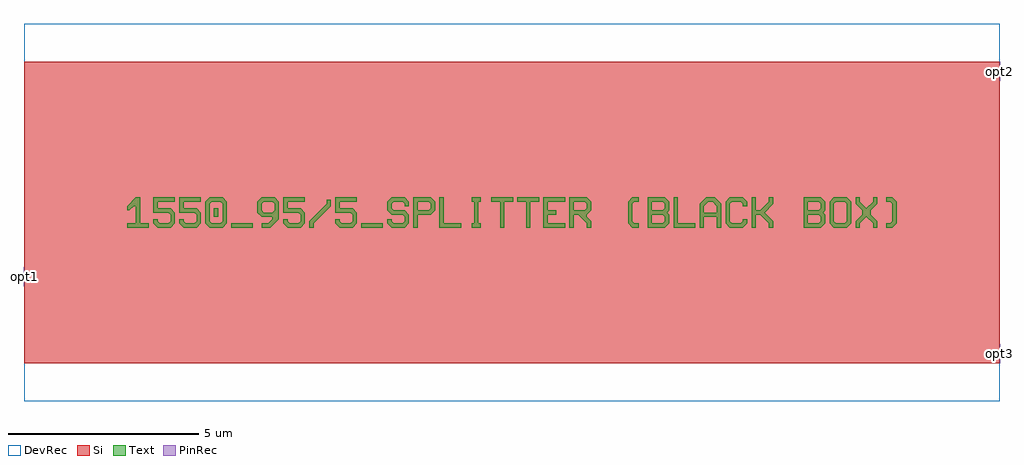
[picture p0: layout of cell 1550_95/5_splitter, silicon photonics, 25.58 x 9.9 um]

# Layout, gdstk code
import gdstk
lib = gdstk.Library(unit=1e-6, precision=1e-09)
def R(c, l, rs):  # rectangles x0, y0, x1, y1
    for r in rs: c.add(gdstk.rectangle(r[:2], r[2:], *l))
def P(c, l, *ps):  # polygons
    for p in ps: c.add(gdstk.Polygon(p, *l))
Si = (1, 0)
PinRec = (1, 10)
Text = (10, 0)
DevRec = (68, 0)

text = lib.new_cell('TEXT')
R(text, Text, [(2.728,0,3.296,0.114), (6.138,0,6.706,0.114), (2.273,0.284,2.387,0.512)])
P(text, Text, [(0,0),(0,0.114),(0.227,0.114),(0.227,0.568),(0.171,0.568),(0.057,0.455),(0,0.455),(0,0.568),(0.227,0.796),(0.341,0.796),(0.341,0.114),(0.568,0.114),(0.568,0)],
  [(0.796,0),(0.682,0.114),(0.682,0.227),(0.796,0.227),(0.796,0.171),(0.853,0.114),(1.08,0.114),(1.137,0.171),(1.137,0.341),(1.08,0.398),(0.682,0.398),(0.682,0.796),(1.25,0.796),(1.25,0.682),(0.796,0.682),(0.796,0.512),(1.137,0.512),(1.25,0.398),(1.25,0.114),(1.137,0)],
  [(1.478,0),(1.364,0.114),(1.364,0.227),(1.478,0.227),(1.478,0.171),(1.535,0.114),(1.762,0.114),(1.819,0.171),(1.819,0.341),(1.762,0.398),(1.364,0.398),(1.364,0.796),(1.932,0.796),(1.932,0.682),(1.478,0.682),(1.478,0.512),(1.819,0.512),(1.932,0.398),(1.932,0.114),(1.819,0)],
  [(2.16,0),(2.046,0.114),(2.046,0.682),(2.16,0.796),(2.501,0.796),(2.614,0.682),(2.217,0.682),(2.16,0.625),(2.16,0.171),(2.217,0.114),(2.444,0.114),(2.501,0.171),(2.501,0.625),(2.444,0.682),(2.614,0.682),(2.614,0.114),(2.501,0)],
  [(3.524,0),(3.524,0.114),(3.694,0.114),(3.808,0.227),(3.808,0.284),(3.524,0.284),(3.41,0.398),(3.808,0.398),(3.865,0.455),(3.865,0.625),(3.808,0.682),(3.581,0.682),(3.524,0.625),(3.524,0.455),(3.581,0.398),(3.41,0.398),(3.41,0.682),(3.524,0.796),(3.865,0.796),(3.978,0.682),(3.978,0.227),(3.751,0)],
  [(4.206,0),(4.092,0.114),(4.092,0.227),(4.206,0.227),(4.206,0.171),(4.263,0.114),(4.49,0.114),(4.547,0.171),(4.547,0.341),(4.49,0.398),(4.092,0.398),(4.092,0.796),(4.66,0.796),(4.66,0.682),(4.206,0.682),(4.206,0.512),(4.547,0.512),(4.66,0.398),(4.66,0.114),(4.547,0)],
  [(4.774,0),(4.774,0.171),(5.229,0.625),(5.229,0.739),(5.342,0.739),(5.342,0.568),(4.888,0.114),(4.888,0)],
  [(5.57,0),(5.456,0.114),(5.456,0.227),(5.57,0.227),(5.57,0.171),(5.627,0.114),(5.854,0.114),(5.911,0.171),(5.911,0.341),(5.854,0.398),(5.456,0.398),(5.456,0.796),(6.024,0.796),(6.024,0.682),(5.57,0.682),(5.57,0.512),(5.911,0.512),(6.024,0.398),(6.024,0.114),(5.911,0)],
  [(6.934,0),(6.82,0.114),(6.82,0.227),(6.934,0.227),(6.934,0.171),(6.991,0.114),(7.218,0.114),(7.275,0.171),(7.275,0.284),(7.218,0.341),(6.934,0.341),(6.82,0.455),(6.82,0.682),(6.934,0.796),(7.275,0.796),(7.388,0.682),(7.388,0.568),(7.275,0.568),(7.275,0.625),(7.218,0.682),(6.991,0.682),(6.934,0.625),(6.934,0.512),(6.991,0.455),(7.275,0.455),(7.388,0.341),(7.388,0.114),(7.275,0)],
  [(7.502,0),(7.502,0.796),(7.957,0.796),(8.07,0.682),(8.07,0.455),(7.957,0.341),(7.616,0.341),(7.616,0.455),(7.9,0.455),(7.957,0.512),(7.957,0.625),(7.9,0.682),(7.616,0.682),(7.616,0)],
  [(8.184,0),(8.184,0.796),(8.298,0.796),(8.298,0.114),(8.752,0.114),(8.752,0)],
  [(9.037,0),(9.037,0.114),(9.093,0.114),(9.093,0.682),(9.037,0.682),(9.037,0.796),(9.264,0.796),(9.264,0.682),(9.207,0.682),(9.207,0.114),(9.264,0.114),(9.264,0)],
  [(9.775,0),(9.775,0.682),(9.548,0.682),(9.548,0.796),(10.116,0.796),(10.116,0.682),(9.889,0.682),(9.889,0)],
  [(10.457,0),(10.457,0.682),(10.23,0.682),(10.23,0.796),(10.798,0.796),(10.798,0.682),(10.571,0.682),(10.571,0)],
  [(10.912,0),(10.912,0.796),(11.48,0.796),(11.48,0.682),(11.026,0.682),(11.026,0.455),(11.253,0.455),(11.253,0.341),(11.026,0.341),(11.026,0.114),(11.48,0.114),(11.48,0)],
  [(11.594,0),(11.594,0.796),(12.049,0.796),(12.162,0.682),(11.708,0.682),(11.708,0.455),(11.992,0.455),(12.049,0.512),(12.049,0.625),(11.992,0.682),(12.162,0.682),(12.162,0.455),(12.049,0.341),(12.049,0.284),(12.162,0.171),(12.162,0),(12.049,0),(12.049,0.114),(11.821,0.341),(11.708,0.341),(11.708,0)],
  [(13.242,0),(13.129,0.114),(13.129,0.682),(13.242,0.796),(13.413,0.796),(13.413,0.682),(13.299,0.682),(13.242,0.625),(13.242,0.171),(13.299,0.114),(13.413,0.114),(13.413,0)],
  [(13.64,0),(13.64,0.796),(14.095,0.796),(14.208,0.682),(13.754,0.682),(13.754,0.455),(14.038,0.455),(14.095,0.512),(14.095,0.625),(14.038,0.682),(14.208,0.682),(14.208,0.455),(14.152,0.398),(14.208,0.341),(13.754,0.341),(13.754,0.114),(14.038,0.114),(14.095,0.171),(14.095,0.284),(14.038,0.341),(14.208,0.341),(14.208,0.114),(14.095,0)],
  [(14.322,0),(14.322,0.796),(14.436,0.796),(14.436,0.114),(14.89,0.114),(14.89,0)],
  [(15.004,0),(15.004,0.625),(15.175,0.796),(15.402,0.796),(15.516,0.682),(15.231,0.682),(15.118,0.568),(15.118,0.398),(15.459,0.398),(15.459,0.568),(15.345,0.682),(15.516,0.682),(15.572,0.625),(15.572,0),(15.459,0),(15.459,0.284),(15.118,0.284),(15.118,0)],
  [(15.8,0),(15.686,0.114),(15.686,0.682),(15.8,0.796),(16.141,0.796),(16.254,0.682),(16.254,0.568),(16.141,0.568),(16.141,0.625),(16.084,0.682),(15.857,0.682),(15.8,0.625),(15.8,0.171),(15.857,0.114),(16.084,0.114),(16.141,0.171),(16.141,0.227),(16.254,0.227),(16.254,0.114),(16.141,0)],
  [(16.368,0),(16.368,0.796),(16.482,0.796),(16.482,0.455),(16.595,0.455),(16.823,0.682),(16.823,0.796),(16.936,0.796),(16.936,0.625),(16.709,0.398),(16.936,0.171),(16.936,0),(16.823,0),(16.823,0.114),(16.595,0.341),(16.482,0.341),(16.482,0)],
  [(17.732,0),(17.732,0.796),(18.187,0.796),(18.3,0.682),(17.846,0.682),(17.846,0.455),(18.13,0.455),(18.187,0.512),(18.187,0.625),(18.13,0.682),(18.3,0.682),(18.3,0.455),(18.244,0.398),(18.3,0.341),(17.846,0.341),(17.846,0.114),(18.13,0.114),(18.187,0.171),(18.187,0.284),(18.13,0.341),(18.3,0.341),(18.3,0.114),(18.187,0)],
  [(18.528,0),(18.414,0.114),(18.414,0.682),(18.528,0.796),(18.869,0.796),(18.982,0.682),(18.982,0.398),(18.869,0.398),(18.869,0.625),(18.812,0.682),(18.585,0.682),(18.528,0.625),(18.528,0.171),(18.585,0.114),(18.812,0.114),(18.869,0.171),(18.869,0.398),(18.982,0.398),(18.982,0.114),(18.869,0)],
  [(19.096,0),(19.096,0.171),(19.267,0.341),(19.267,0.455),(19.096,0.625),(19.096,0.796),(19.21,0.796),(19.21,0.682),(19.38,0.512),(19.551,0.682),(19.551,0.796),(19.664,0.796),(19.664,0.625),(19.494,0.455),(19.494,0.341),(19.664,0.171),(19.664,0),(19.551,0),(19.551,0.114),(19.38,0.284),(19.21,0.114),(19.21,0)],
  [(19.892,0),(19.892,0.114),(20.005,0.114),(20.062,0.171),(20.062,0.625),(20.005,0.682),(19.892,0.682),(19.892,0.796),(20.062,0.796),(20.176,0.682),(20.176,0.114),(20.062,0)])

c_1550_95_5_splitter = lib.new_cell('1550_95/5_splitter')
R(c_1550_95_5_splitter, Si, [(-3,-2.263,22.582,5.636)])
R(c_1550_95_5_splitter, DevRec, [(-3,-3.263,22.582,6.636)])
c_1550_95_5_splitter.add(gdstk.FlexPath([(-2.999,0),(-3.001,0)], 0.5, ends="flush", simple_path=True, layer=1, datatype=10))  # PinRec
c_1550_95_5_splitter.add(gdstk.FlexPath([(22.581,5.386),(22.583,5.386)], 0.5, ends="flush", simple_path=True, layer=1, datatype=10))  # PinRec
c_1550_95_5_splitter.add(gdstk.FlexPath([(22.581,-2.013),(22.583,-2.013)], 0.5, ends="flush", simple_path=True, layer=1, datatype=10))  # PinRec
c_1550_95_5_splitter.add(gdstk.Reference(text, (-0.297,1.288)))
c_1550_95_5_splitter.add(gdstk.Label('opt1', (-3,0), layer=1, texttype=10))
c_1550_95_5_splitter.add(gdstk.Label('opt2', (22.582,5.386), layer=1, texttype=10))
c_1550_95_5_splitter.add(gdstk.Label('opt3', (22.582,-2.013), layer=1, texttype=10))

lib.write_gds('1550_95_5_splitter.gds')
